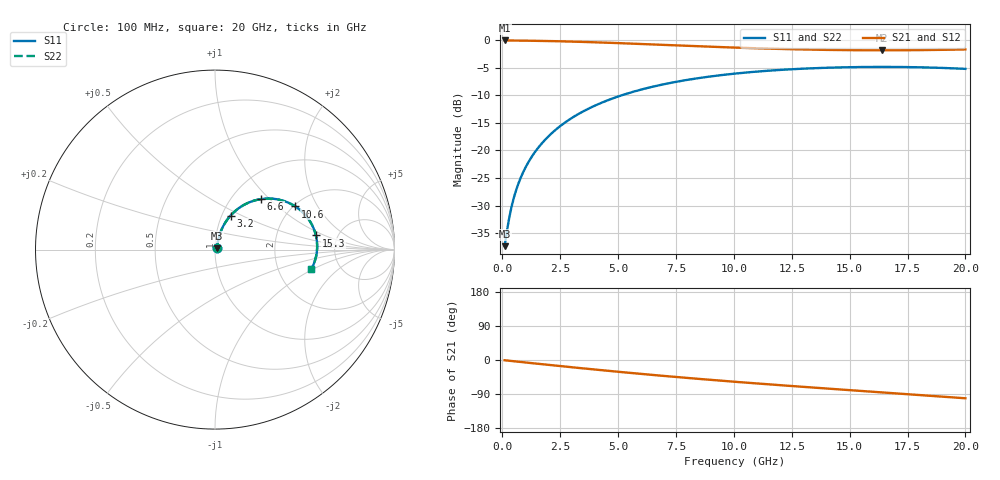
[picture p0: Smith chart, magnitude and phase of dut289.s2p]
! Touchstone file exported from HFSS 2026.1.0
!  File:  C:/ffzhzh/LocalFiles/Ansys_Project_Files/temp_train_TSV_RDL_289_1783087203_20200.aedt
!  Generated:  10:12:24 PM Jul  3, 2026
!  Design:  TSV_RDL
!  Project:  temp_train_TSV_RDL_289_1783087203_20200
! Variables:
!  h_bsmrdl = 2.71um
!  h_ox = 20um
!  h_rdl = 5um
!  h_sub = 52.93um
!  h_tmrdl = 2.18um
!  h_tsv = 52.93um
!  h_via = 3um
!  l_bsmrdl = 254.67um
!  l_sub = 1820.28um
!  l_tmrdl = 136.22um
!  m_sub = 200um
!  pitch = 59.25um
!  r_tsv = 13.82um
!  s_tmrdl = 10um
!  w_bsmrdl = 20.82um
!  w_sub = 500um
!  w_tmrdl = 16.31um
!  x_tsv_center1 = 144.375um
!  x_tsv_center2 = 419.865um
!  x_tsv_center3 = 572.395um
!  x_tsv_center4 = 847.885um
!  x_tsv_center5 = 1000.415um
!  x_tsv_center6 = 1275.905um
# GHz S MA R 50.000000
! Terminal data exported
! Port[1] = TM_RDL1_1_T1
! Port[2] = TM_RDL5_1_T1
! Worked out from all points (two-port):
!   200 points, 100 MHz to 20 GHz, reference 50 ohm
!   highest |S21| = -0.10 dB at 100 MHz (marker M1); lowest = -1.9 dB at 16.4 GHz (marker M2)
!   |S21| within 3 dB of the highest: start of sweep to end of sweep
!   lowest |S11| = -37.3 dB at 100 MHz (marker M3), VSWR 1.03, Z = 51.2 + j0.729 ohm
!   |S11| at or under -10 dB: start of sweep to 5.176 GHz
!   |S22| runs from -37.3 to -4.9 dB; largest |S21 - S12| = 2.2e-14
!   S11 on the Smith chart (normalised r, x): 100 MHz: 1.02, +0.01; 3.2 GHz: 1.10, +0.44; 6.6 GHz: 1.35, +0.89; 10.6 GHz: 2.05, +1.33; 15.3 GHz: 3.43, +0.80; 20 GHz: 3.07, -0.97
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0.1  0.0136 31.6  0.9885 -0.7  0.9885 -0.7  0.0136 31.6
! Gamma 0 0 0 0
! Port Impedance 50 0 50 0
0.3  0.02461 58.7  0.9877 -2.0  0.9877 -2.0  0.02461 58.7
0.5  0.03737 66.9  0.9867 -3.3  0.9867 -3.3  0.03737 66.9
0.8  0.05686 71.2  0.9852 -5.2  0.9852 -5.2  0.05686 71.2
1.1  0.07643 72.5  0.9835 -7.2  0.9835 -7.2  0.07643 72.5
1.5  0.1024 72.4  0.9807 -9.7  0.9807 -9.7  0.1024 72.4
2  0.1345 70.9  0.9765 -12.9  0.9765 -12.9  0.1345 70.9
2.6  0.1721 68.4  0.9702 -16.6  0.9702 -16.6  0.1721 68.4
3.2  0.2083 65.4  0.9628 -20.3  0.9628 -20.3  0.2083 65.4
3.5  0.2259 63.9  0.9587 -22.2  0.9587 -22.2  0.2259 63.9
4.9  0.3023 56.5  0.9372 -30.5  0.9372 -30.5  0.3023 56.5
6.6  0.3815 47.6  0.9079 -40.0  0.9079 -40.0  0.3815 47.6
6.8  0.3898 46.5  0.9044 -41.1  0.9044 -41.1  0.3898 46.5
8.4  0.4486 38.5  0.8771 -49.4  0.8771 -49.4  0.4485 38.5
10.1  0.4968 30.5  0.8512 -57.7  0.8512 -57.7  0.4968 30.5
10.6  0.5084 28.2  0.8444 -60.1  0.8444 -60.1  0.5084 28.2
13.4  0.5538 15.9  0.816 -72.6  0.816 -72.6  0.5538 15.9
15.3  0.5676 8.0  0.8068 -80.8  0.8068 -80.8  0.5676 8.0
16.4  0.5698 3.4  0.8053 -85.5  0.8053 -85.5  0.5698 3.4
16.7  0.5696 2.2  0.8054 -86.8  0.8054 -86.8  0.5696 2.2
18.4  0.5628 -4.9  0.8099 -94.0  0.8099 -94.0  0.5628 -4.9
20  0.5468 -11.7  0.8201 -101.0  0.8201 -101.0  0.5468 -11.7
